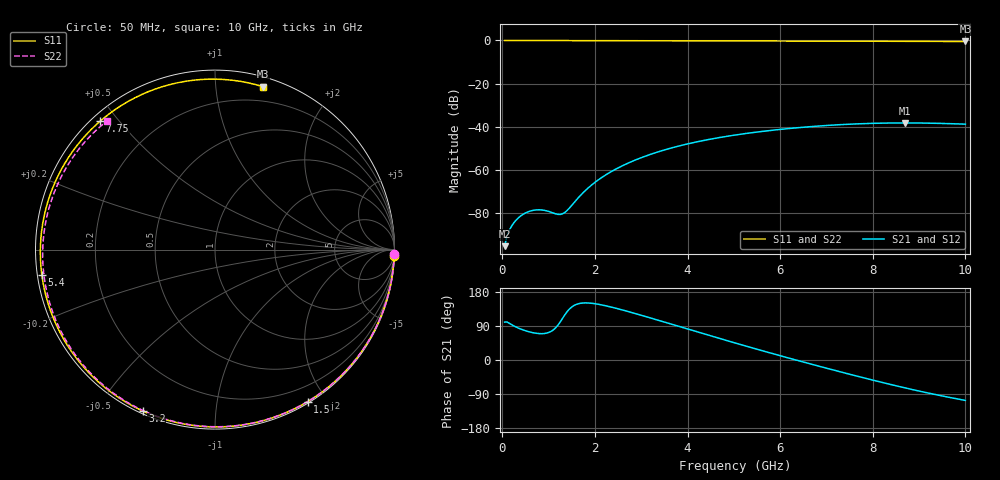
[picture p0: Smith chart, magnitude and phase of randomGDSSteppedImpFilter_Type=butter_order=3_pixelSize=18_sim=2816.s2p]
! freq	dB(S11)	phase(S11)	dB(S12)	phase(S12)
!  dB(S21)	phase(S21)	dB(S22)	phase(S22)
!S-par simulation data
#  GHz  S  DB  R 50
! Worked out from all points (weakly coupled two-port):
!   200 points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, 50 MHz to 10 GHz, reference 50 ohm
!   highest |S21| = -38.19 dB at 8.7 GHz (marker M1); lowest = -95.3 dB at 50 MHz (marker M2)
!   lowest |S11| = -0.5 dB at 10 GHz (marker M3), VSWR 36.27, Z = 3.84 + j66.8 ohm
!   |S11| at or under -10 dB: nowhere
!   |S22| runs from -0.6 to 0.0 dB; largest |S21 - S12| = 0
!   S11 on the Smith chart (normalised r, x): 50 MHz: 1, -58; 1.5 GHz: 0.02, -1.78; 3.2 GHz: 0.01, -0.65; 5.4 GHz: 0.01, -0.07; 7.75 GHz: 0.02, +0.45; 10 GHz: 0.08, +1.34
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0.05  -0.01 -2.0  -95.25 100.1  -95.25 100.1  -0.00 -1.4
0.45  -0.03 -18.1  -80.49 79.3  -80.49 79.3  -0.02 -13.0
0.8  -0.04 -32.0  -78.42 69.6  -78.42 69.6  -0.03 -23.0
1.1  -0.05 -43.6  -79.90 79.2  -79.90 79.2  -0.04 -31.5
1.3  -0.06 -51.2  -80.29 109.7  -80.29 109.7  -0.05 -37.1
1.35  -0.06 -53.1  -79.66 119.1  -79.66 119.1  -0.05 -38.5
1.5  -0.07 -58.6  -76.34 139.9  -76.34 139.9  -0.05 -42.6
1.75  -0.08 -67.6  -70.39 150.5  -70.39 150.5  -0.06 -49.4
2.05  -0.09 -78.0  -64.92 147.6  -64.92 147.6  -0.07 -57.4
2.35  -0.10 -88.0  -60.76 139.7  -60.76 139.7  -0.08 -65.2
3.2  -0.13 -114.2  -52.74 111.0  -52.74 111.0  -0.11 -86.4
3.4  -0.14 -119.9  -51.35 103.8  -51.35 103.8  -0.12 -91.2
4.2  -0.17 -141.7  -46.96 74.6  -46.96 74.6  -0.14 -109.6
5.05  -0.20 -163.2  -43.73 44.1  -43.73 44.1  -0.18 -128.0
5.4  -0.22 -171.8  -42.69 31.9  -42.69 31.9  -0.20 -135.3
6.05  -0.25 172.6  -41.08 9.7  -41.08 9.7  -0.24 -148.5
6.7  -0.29 157.2  -39.84 -11.9  -39.84 -11.9  -0.28 -161.6
7.75  -0.35 131.8  -38.55 -45.4  -38.55 -45.4  -0.37 177.4
8.35  -0.39 116.8  -38.24 -63.6  -38.24 -63.6  -0.42 165.3
8.7  -0.41 107.9  -38.19 -73.7  -38.19 -73.7  -0.45 158.0
9.35  -0.45 91.0  -38.35 -91.2  -38.35 -91.2  -0.51 144.3
10  -0.48 73.5  -38.76 -106.7  -38.76 -106.7  -0.57 130.0
